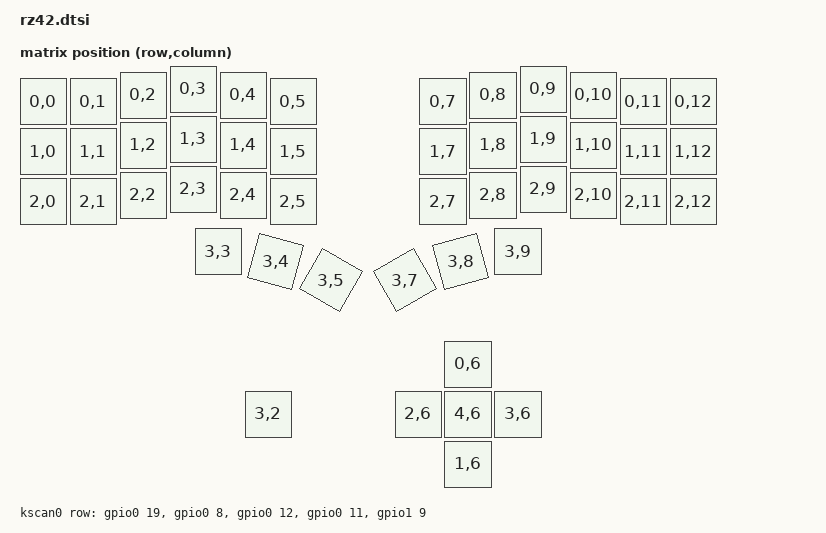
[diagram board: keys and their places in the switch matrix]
/*
 * Copyright (c) 2024 The ZMK Contributors
 * SPDX-License-Identifier: MIT
 */

#include <nordic/nrf52840_qiaa.dtsi>
#include <physical_layouts.dtsi>
#include <dt-bindings/zmk/matrix_transform.h>
#include <dt-bindings/led/led.h>
#include "rz42-pinctrl.dtsi"

/ {
  chosen {
    zephyr,code-partition = &code_partition;
    zephyr,sram = &sram0;
    zephyr,flash = &flash0;
    zmk,battery = &vbatt;
    zmk,kscan = &kscan0;
    zmk,underglow = &led_strip;
  };

  default_transform: keymap_transform_0 {
    compatible = "zmk,matrix-transform";
    columns = <13>;
    rows = <5>;

    map =
      <
       RC(0,0) RC(0,1) RC(0,2) RC(0,3) RC(0,4) RC(0,5)    RC(0,7) RC(0,8) RC(0,9) RC(0,10) RC(0,11) RC(0,12)
       RC(1,0) RC(1,1) RC(1,2) RC(1,3) RC(1,4) RC(1,5)    RC(1,7) RC(1,8) RC(1,9) RC(1,10) RC(1,11) RC(1,12)
       RC(2,0) RC(2,1) RC(2,2) RC(2,3) RC(2,4) RC(2,5)    RC(2,7) RC(2,8) RC(2,9) RC(2,10) RC(2,11) RC(2,12)
       /**/                    RC(3,3) RC(3,4) RC(3,5)    RC(3,7) RC(3,8) RC(3,9)

       /**/                         /* EC11 on left */    /* Joystick on right */
       /**/                              RC(3,2)                   RC(0,6)
       /**/                                                RC(2,6) RC(4,6) RC(3,6)
       /**/                                                        RC(1,6)
      >;
  };

  kscan0: kscan {
    compatible = "zmk,kscan-gpio-matrix";
    wakeup-source;
    diode-direction = "col2row";
    row-gpios
      = <&gpio0 19 (GPIO_ACTIVE_HIGH | GPIO_PULL_DOWN)>
      , <&gpio0 8 (GPIO_ACTIVE_HIGH | GPIO_PULL_DOWN)>
      , <&gpio0 12 (GPIO_ACTIVE_HIGH | GPIO_PULL_DOWN)>
      , <&gpio0 11 (GPIO_ACTIVE_HIGH | GPIO_PULL_DOWN)>
      , <&gpio1 9 (GPIO_ACTIVE_HIGH | GPIO_PULL_DOWN)>
      ;
  };

  soft_off_wakers: soft_off_wakers {
    compatible = "zmk,soft-off-wakeup-sources";
    wakeup-sources = <&kscan0>;
  };

  layout0: layout0 {
    compatible = "zmk,physical-layout";
    display-name = "Corne 6C 3M+";
    kscan = <&kscan0>;
    transform = <&default_transform>;
    keys  //                   w   h    x    y     rot    rx    ry
      // row 0 Left
      = <&key_physical_attrs 100 100    0   25       0     0     0>
      , <&key_physical_attrs 100 100  100   25       0     0     0>
      , <&key_physical_attrs 100 100  200   12       0     0     0>
      , <&key_physical_attrs 100 100  300    0       0     0     0>
      , <&key_physical_attrs 100 100  400   12       0     0     0>
      , <&key_physical_attrs 100 100  500   25       0     0     0>
      // row 0 Right
      , <&key_physical_attrs 100 100  800   25       0     0     0>
      , <&key_physical_attrs 100 100  900   12       0     0     0>
      , <&key_physical_attrs 100 100 1000    0       0     0     0>
      , <&key_physical_attrs 100 100 1100   12       0     0     0>
      , <&key_physical_attrs 100 100 1200   25       0     0     0>
      , <&key_physical_attrs 100 100 1300   25       0     0     0>
      // row 1 Left
      , <&key_physical_attrs 100 100    0  125       0     0     0>
      , <&key_physical_attrs 100 100  100  125       0     0     0>
      , <&key_physical_attrs 100 100  200  112       0     0     0>
      , <&key_physical_attrs 100 100  300  100       0     0     0>
      , <&key_physical_attrs 100 100  400  112       0     0     0>
      , <&key_physical_attrs 100 100  500  125       0     0     0>
      // row 1 Right
      , <&key_physical_attrs 100 100  800  125       0     0     0>
      , <&key_physical_attrs 100 100  900  112       0     0     0>
      , <&key_physical_attrs 100 100 1000  100       0     0     0>
      , <&key_physical_attrs 100 100 1100  112       0     0     0>
      , <&key_physical_attrs 100 100 1200  125       0     0     0>
      , <&key_physical_attrs 100 100 1300  125       0     0     0>
      // row 2 Left
      , <&key_physical_attrs 100 100    0  225       0     0     0>
      , <&key_physical_attrs 100 100  100  225       0     0     0>
      , <&key_physical_attrs 100 100  200  212       0     0     0>
      , <&key_physical_attrs 100 100  300  200       0     0     0>
      , <&key_physical_attrs 100 100  400  212       0     0     0>
      , <&key_physical_attrs 100 100  500  225       0     0     0>
      // row 2 Right
      , <&key_physical_attrs 100 100  800  225       0     0     0>
      , <&key_physical_attrs 100 100  900  212       0     0     0>
      , <&key_physical_attrs 100 100 1000  200       0     0     0>
      , <&key_physical_attrs 100 100 1100  212       0     0     0>
      , <&key_physical_attrs 100 100 1200  225       0     0     0>
      , <&key_physical_attrs 100 100 1300  225       0     0     0>

      // row 3 Left
      , <&key_physical_attrs 100 100  350  325       0     0     0>
      , <&key_physical_attrs 100 100  465  345    1500   515   395>
      , <&key_physical_attrs 100 100  575  385    3000   630   435>

      // row 3 Right
      , <&key_physical_attrs 100 100  725  385 (-3000)   770   435>
      , <&key_physical_attrs 100 100  835  345 (-1500)   885   395>
      , <&key_physical_attrs 100 100  950  325       0     0     0>

      // EC11 on Left
      , <&key_physical_attrs 100 100  450  650       0     0     0> // button

      // Joystick on Right
      , <&key_physical_attrs 100 100  850  550       0     0     0> // ↑
      , <&key_physical_attrs 100 100  750  650       0     0     0> // ←
      , <&key_physical_attrs 100 100  850  650       0     0     0> // button
      , <&key_physical_attrs 100 100  950  650       0     0     0> // →
      , <&key_physical_attrs 100 100  850  750       0     0     0> // ↓
      ;
  };

  leds {
    compatible = "gpio-leds";
    /* led for indicating bootloader mode (not used in app) */
    blue_led: led_0 {
      gpios = <&gpio0 15 GPIO_ACTIVE_HIGH>;
    };
  };

  // Node name must match original "EXT_POWER" label to preserve user settings.
  EXT_POWER {
    compatible = "zmk,ext-power-generic";
    control-gpios = <&gpio0 13 GPIO_ACTIVE_HIGH>;
    init-delay-ms = <50>;
  };

  vbatt: vbatt {
    compatible = "zmk,battery-nrf-vddh";
  };
};

zephyr_udc0: &usbd {
  status = "okay";
};

&adc {
  status = "okay";
};

&gpio0 {
  status = "okay";
};

&gpio1 {
  status = "okay";
};

/*
  spi for nice!view compatible display
  need nice_vieiw.overlay for now
 */
nice_view_spi: &spi0 {
  status = "okay";
  compatible = "nordic,nrf-spim";
  pinctrl-0 = <&spi0_default>;
  pinctrl-1 = <&spi0_sleep>;
  pinctrl-names = "default", "sleep";
  cs-gpios = <&gpio0 6 GPIO_ACTIVE_HIGH>;
};

/* spi for led strip */
&spi3 {
  status = "okay";
  pinctrl-0 = <&spi3_default>;
  pinctrl-1 = <&spi3_sleep>;
  pinctrl-names = "default", "sleep";

  led_strip: ws2812@0 {
    compatible = "worldsemi,ws2812-spi";

    /* SPI */
    reg = <0>; /* ignored, but necessary for SPI bindings */
    spi-max-frequency = <4000000>;

    /* WS2812 */
    chain-length = <6>;
    spi-one-frame = <0x70>;
    spi-zero-frame = <0x40>;

    color-mapping =
      <LED_COLOR_ID_GREEN
       LED_COLOR_ID_RED
       LED_COLOR_ID_BLUE>;
  };
};

&flash0 {
  /*
   * For more information, see:
   * http://docs.zephyrproject.org/latest/devices/dts/flash_partitions.html
   */
  partitions {
    compatible = "fixed-partitions";
    #address-cells = <1>;
    #size-cells = <1>;

    sd_partition: partition@0 {
      reg = <0x00000000 0x00026000>;
    };
    code_partition: partition@26000 {
      reg = <0x00026000 0x000c6000>;
    };

    /*
     * The flash starting at 0x000ec000 and ending at
     * 0x000f3fff is reserved for use by the application.
     */

    /*
     * Storage partition will be used by FCB/LittleFS/NVS
     * if enabled.
     */
    storage_partition: partition@ec000 {
      reg = <0x000ec000 0x00008000>;
    };

    boot_partition: partition@f4000 {
      reg = <0x000f4000 0x0000c000>;
    };
  };
};
